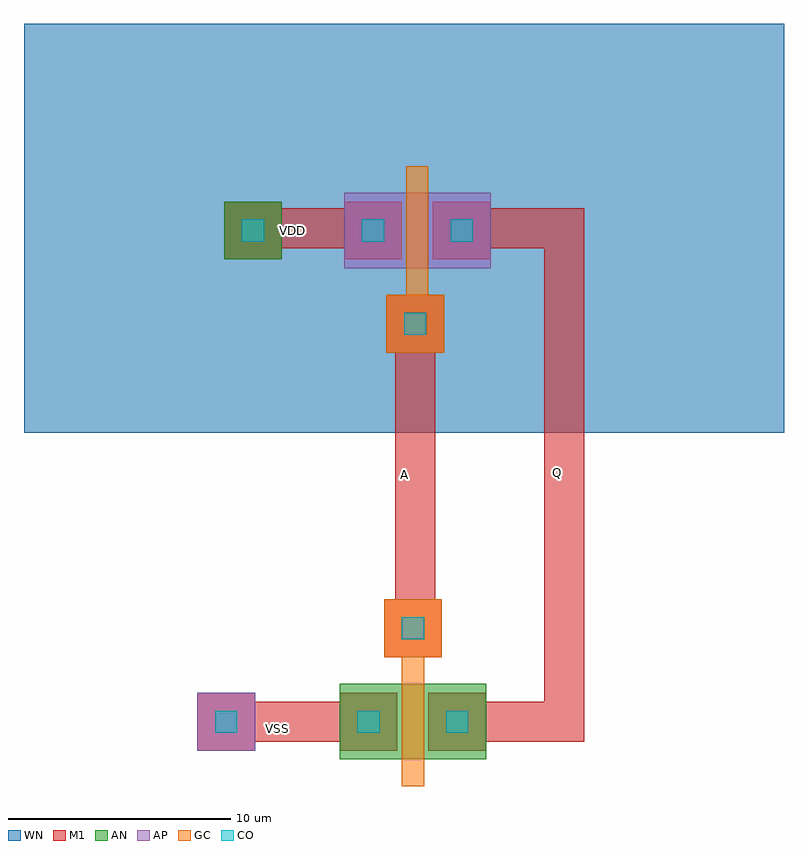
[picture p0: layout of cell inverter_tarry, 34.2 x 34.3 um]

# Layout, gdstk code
import gdstk
lib = gdstk.Library(unit=1e-6, precision=1e-07)
def R(c, l, rs):  # rectangles x0, y0, x1, y1
    for r in rs: c.add(gdstk.rectangle(r[:2], r[2:], *l))
AP = (3, 1)
AN = (3, 2)
GC = (8, 1)
CO = (11, 0)
M1 = (13, 0)
WN = (140, 0)

fet_n = lib.new_cell('fet_n')
R(fet_n, AN, [(-3.3,-1.7,3.3,1.7)])
R(fet_n, CO, [(-2.5,-0.5,-1.5,0.5), (1.5,-0.5,2.5,0.5)])
R(fet_n, M1, [(-3.3,-1.3,-0.7,1.3), (0.7,-1.3,3.3,1.3)])
fet_n.add(gdstk.FlexPath([(0,-2.9),(0,2.9)], 1, ends="flush", simple_path=True, layer=8, datatype=1))  # GC

fet_p = lib.new_cell('fet_p')
R(fet_p, AP, [(-3.3,-1.7,3.3,1.7)])
R(fet_p, CO, [(-2.5,-0.5,-1.5,0.5), (1.5,-0.5,2.5,0.5)])
R(fet_p, M1, [(-3.3,-1.3,-0.7,1.3), (0.7,-1.3,3.3,1.3)])
fet_p.add(gdstk.FlexPath([(0,-2.9),(0,2.9)], 1, ends="flush", simple_path=True, layer=8, datatype=1))  # GC

cont_g = lib.new_cell('cont_g')
R(cont_g, GC, [(-1.3,-1.3,1.3,1.3)])
R(cont_g, CO, [(-0.5,-0.5,0.5,0.5)])
R(cont_g, M1, [(-1.3,-1.3,1.3,1.3)])

cont_n = lib.new_cell('cont_n')
R(cont_n, AN, [(-1.3,-1.3,1.3,1.3)])
R(cont_n, CO, [(-0.5,-0.5,0.5,0.5)])
R(cont_n, M1, [(-1.3,-1.3,1.3,1.3)])

cont_p = lib.new_cell('cont_p')
R(cont_p, AP, [(-1.3,-1.3,1.3,1.3)])
R(cont_p, CO, [(-0.5,-0.5,0.5,0.5)])
R(cont_p, M1, [(-1.3,-1.3,1.3,1.3)])

inverter_tarry = lib.new_cell('inverter_tarry')
R(inverter_tarry, WN, [(-18.2,1.6,16,20)])
inverter_tarry.add(gdstk.FlexPath([(-0.6,6.4),(-0.6,-7.3)], 1.8, ends="flush", simple_path=True, layer=13, datatype=0))  # M1
inverter_tarry.add(gdstk.FlexPath([(-2.6,10.8),(-8.1,10.8)], 1.8, ends="flush", simple_path=True, layer=13, datatype=0))  # M1
inverter_tarry.add(gdstk.FlexPath([(-2.8,-11.4),(-9.3,-11.4)], 1.8, ends="flush", simple_path=True, layer=13, datatype=0))  # M1
inverter_tarry.add(gdstk.FlexPath([(1.5,10.8),(6.1,10.8),(6.1,-11.4),(1.1,-11.4),(1.1,-11.4)], 1.8, ends="flush", simple_path=True, layer=13, datatype=0))  # M1
inverter_tarry.add(gdstk.Reference(fet_n, (-0.7,-11.4)))
inverter_tarry.add(gdstk.Reference(fet_p, (-0.5,10.7)))
inverter_tarry.add(gdstk.Reference(cont_g, (-0.6,6.5)))
inverter_tarry.add(gdstk.Reference(cont_g, (-0.7,-7.2)))
inverter_tarry.add(gdstk.Reference(cont_n, (-7.9,10.7)))
inverter_tarry.add(gdstk.Reference(cont_p, (-9.1,-11.4)))
inverter_tarry.add(gdstk.Label('VDD', (-6.1,10.7), layer=48, texttype=0))
inverter_tarry.add(gdstk.Label('VSS', (-6.8,-11.7), layer=48, texttype=0))
inverter_tarry.add(gdstk.Label('A', (-1.1,-0.3), layer=48, texttype=0))
inverter_tarry.add(gdstk.Label('Q', (5.8,-0.2), layer=48, texttype=0))

lib.write_gds('inverter_tarry.gds')
